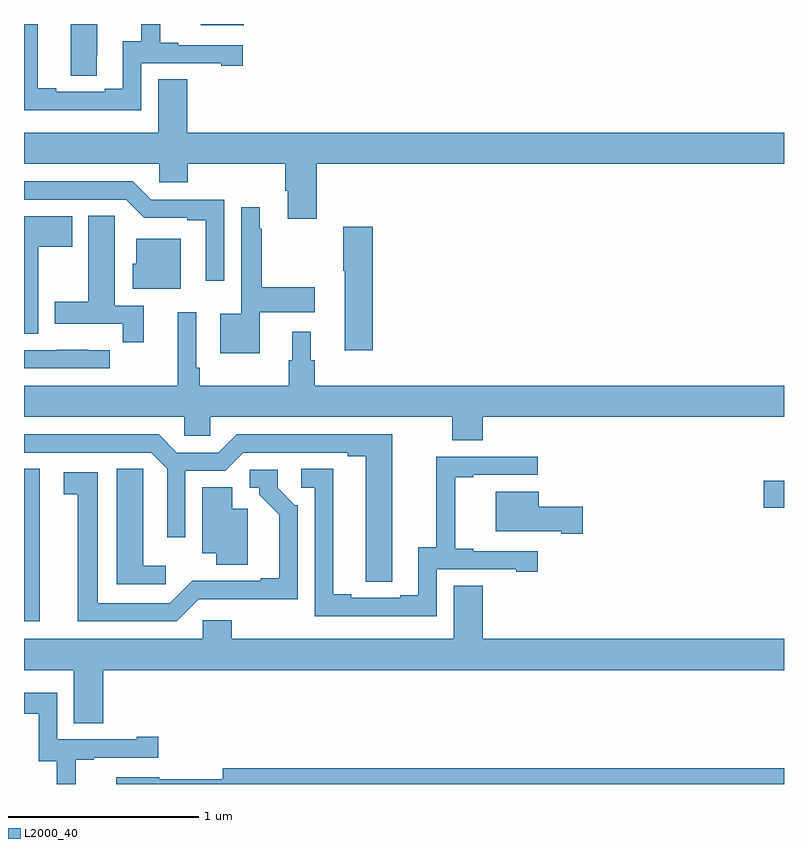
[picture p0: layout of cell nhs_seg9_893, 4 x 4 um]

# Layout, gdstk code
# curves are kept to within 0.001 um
import gdstk
lib = gdstk.Library(unit=1e-6, precision=1e-09)
def R(c, l, rs):  # rectangles x0, y0, x1, y1
    for r in rs: c.add(gdstk.rectangle(r[:2], r[2:], *l))
def P(c, l, *ps):  # polygons
    for p in ps: c.add(gdstk.Polygon(p, *l))
L2000_40 = (2000, 40)

nhs_seg9_893 = lib.new_cell('nhs_seg9_893')
R(nhs_seg9_893, L2000_40, [(159,1183.356,159.082,1184.158), (162.894,1183.955,163,1184.097), (159.929,1186.493,160.156,1186.5)])
P(nhs_seg9_893, L2000_40, [(159.618,1186.293),(160.037,1186.293),(160.037,1186.281),(160.15,1186.281),(160.15,1186.389),(159.811,1186.389),(159.811,1186.402),(159.716,1186.402),(159.716,1186.5),(159.616,1186.5),(159.616,1186.409),(159.521,1186.409),(159.521,1186.158),(159.425,1186.158),(159.425,1186.143),(159.169,1186.143),(159.169,1186.163),(159.073,1186.163),(159.073,1186.5),(159,1186.5),(159,1186.047),(159.618,1186.047)],
  [(159.384,1186.336),(159.385,1186.336),(159.385,1186.5),(159.245,1186.5),(159.245,1186.228),(159.384,1186.228)],
  [(160.541,1185.764),(163,1185.764),(163,1185.928),(159.86,1185.928),(159.86,1186.208),(159.707,1186.208),(159.707,1185.928),(159,1185.928),(159,1185.764),(159.711,1185.764),(159.711,1185.666),(159.863,1185.666),(159.863,1185.764),(160.376,1185.764),(160.376,1185.622),(160.388,1185.622),(160.388,1185.474),(160.541,1185.474)],
  [(160.053,1185.576),(159.669,1185.576),(159.573,1185.672),(159,1185.672),(159,1185.576),(159.537,1185.576),(159.633,1185.48),(159.86,1185.48),(159.86,1185.468),(159.956,1185.468),(159.956,1185.15),(160.053,1185.15)],
  [(160.24,1184.984),(160.531,1184.984),(160.531,1185.114),(160.252,1185.114),(160.252,1185.422),(160.24,1185.422),(160.24,1185.535),(160.143,1185.535),(160.143,1184.974),(160.034,1184.974),(160.034,1184.768),(160.24,1184.768)],
  [(159.629,1185.018),(159.478,1185.018),(159.478,1185.38),(159.477,1185.38),(159.477,1185.491),(159.338,1185.491),(159.338,1185.039),(159.161,1185.039),(159.161,1184.922),(159.52,1184.922),(159.52,1184.826),(159.629,1184.826)],
  [(159.076,1185.328),(159.253,1185.328),(159.253,1185.487),(159,1185.487),(159,1184.869),(159.076,1184.869)],
  [(160.835,1185.433),(160.681,1185.433),(160.681,1185.202),(160.688,1185.202),(160.688,1184.784),(160.835,1184.784)],
  [(159.826,1185.37),(159.59,1185.37),(159.59,1185.237),(159.572,1185.237),(159.572,1185.107),(159.826,1185.107)],
  [(159.906,1184.692),(159.906,1184.983),(159.809,1184.983),(159.809,1184.596),(159,1184.596),(159,1184.432),(159.843,1184.432),(159.843,1184.334),(159.981,1184.334),(159.981,1184.432),(161.254,1184.432),(161.254,1184.308),(161.414,1184.308),(161.414,1184.432),(163,1184.432),(163,1184.596),(160.529,1184.596),(160.529,1184.73),(160.51,1184.73),(160.51,1184.881),(160.412,1184.881),(160.412,1184.73),(160.393,1184.73),(160.393,1184.596),(159.926,1184.596),(159.926,1184.692)],
  [(159.451,1184.784),(159.338,1184.784),(159.338,1184.785),(159.172,1184.785),(159.172,1184.784),(159,1184.784),(159,1184.688),(159.451,1184.688)],
  [(160.938,1183.672),(160.939,1184.34),(160.119,1184.34),(160.023,1184.244),(159.805,1184.244),(159.709,1184.34),(159,1184.34),(159,1184.244),(159.669,1184.244),(159.753,1184.16),(159.753,1183.8),(159.849,1183.8),(159.849,1184.148),(160.059,1184.148),(160.155,1184.244),(160.703,1184.244),(160.703,1184.224),(160.799,1184.224),(160.799,1183.564),(160.938,1183.564)],
  [(161.172,1183.629),(161.591,1183.629),(161.591,1183.617),(161.704,1183.617),(161.704,1183.725),(161.365,1183.725),(161.365,1183.738),(161.27,1183.738),(161.27,1184.115),(161.365,1184.115),(161.365,1184.127),(161.704,1184.127),(161.704,1184.223),(161.17,1184.223),(161.17,1183.745),(161.075,1183.745),(161.075,1183.494),(160.979,1183.494),(160.979,1183.479),(160.723,1183.479),(160.723,1183.499),(160.627,1183.499),(160.627,1184.159),(160.458,1184.159),(160.458,1184.058),(160.53,1184.058),(160.53,1183.383),(161.172,1183.383)],
  [(159.745,1183.648),(159.628,1183.648),(159.628,1184.051),(159.627,1184.051),(159.627,1184.159),(159.488,1184.159),(159.488,1183.551),(159.745,1183.551)],
  [(159.921,1183.473),(160.44,1183.472),(160.44,1183.968),(160.425,1183.968),(160.335,1184.058),(160.335,1184.154),(160.188,1184.154),(160.188,1184.058),(160.238,1184.058),(160.238,1184.023),(160.343,1183.918),(160.343,1183.582),(160.247,1183.582),(160.247,1183.569),(159.886,1183.57),(159.768,1183.452),(159.388,1183.452),(159.388,1184.142),(159.21,1184.142),(159.21,1184.026),(159.284,1184.026),(159.284,1183.356),(159.804,1183.356)],
  [(160.177,1183.948),(160.096,1183.948),(160.096,1184.063),(159.938,1184.063),(159.938,1183.715),(160.013,1183.715),(160.013,1183.654),(160.177,1183.654)],
  [(161.941,1183.959),(161.71,1183.959),(161.71,1184.038),(161.483,1184.038),(161.483,1183.829),(161.828,1183.829),(161.828,1183.817),(161.941,1183.817)],
  [(159.416,1183.1),(163,1183.1),(163,1183.264),(161.414,1183.264),(161.414,1183.544),(161.261,1183.544),(161.261,1183.264),(160.094,1183.264),(160.094,1183.362),(159.942,1183.362),(159.942,1183.264),(159,1183.264),(159,1183.1),(159.263,1183.1),(159.263,1182.82),(159.416,1182.82)],
  [(159.272,1182.627),(159.367,1182.627),(159.367,1182.639),(159.706,1182.639),(159.706,1182.748),(159.593,1182.748),(159.593,1182.735),(159.174,1182.735),(159.174,1182.981),(159,1182.981),(159,1182.87),(159.077,1182.87),(159.077,1182.619),(159.172,1182.619),(159.172,1182.5),(159.272,1182.5)],
  [(163,1182.584),(160.047,1182.584),(160.047,1182.524),(159.712,1182.524),(159.712,1182.535),(159.485,1182.535),(159.485,1182.5),(163,1182.5)])

lib.write_gds('nhs_seg9_893.gds')
